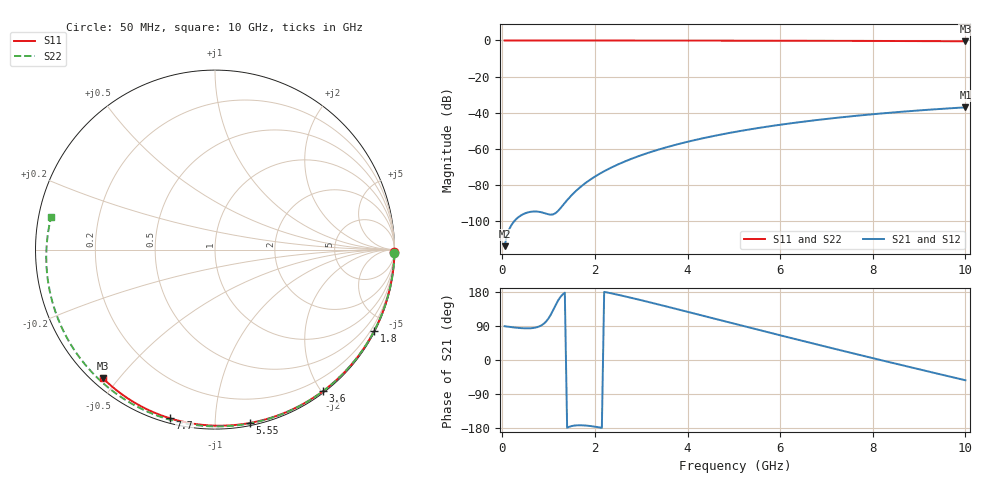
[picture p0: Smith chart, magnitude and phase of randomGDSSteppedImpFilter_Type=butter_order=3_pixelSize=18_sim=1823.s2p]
! freq	dB(S11)	phase(S11)	dB(S12)	phase(S12)
!  dB(S21)	phase(S21)	dB(S22)	phase(S22)
!S-par simulation data
#  GHz  S  DB  R 50
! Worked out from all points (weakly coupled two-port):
!   200 points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, 50 MHz to 10 GHz, reference 50 ohm
!   highest |S21| = -37.02 dB at 10 GHz (marker M1); lowest = -113.8 dB at 50 MHz (marker M2)
!   lowest |S11| = -0.4 dB at 10 GHz (marker M3), VSWR 39.07, Z = 1.54 - j22.6 ohm
!   |S11| at or under -10 dB: nowhere
!   |S22| runs from -0.6 to 0.0 dB; largest |S21 - S12| = 0
!   S11 on the Smith chart (normalised r, x): 50 MHz: open; 1.8 GHz: 0.04, -4.18; 3.6 GHz: 0.02, -2.02; 5.55 GHz: 0.02, -1.22; 7.7 GHz: 0.02, -0.77; 10 GHz: 0.03, -0.45
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0.05  -0.00 -0.8  -113.83 89.1  -113.83 89.1  -0.00 -1.1
0.45  -0.01 -6.8  -96.13 83.8  -96.13 83.8  -0.01 -9.6
0.85  -0.02 -12.8  -95.12 91.8  -95.12 91.8  -0.02 -18.0
1.3  -0.02 -19.6  -91.45 172.5  -91.45 172.5  -0.03 -27.3
1.75  -0.03 -26.2  -79.80 -172.5  -79.80 -172.5  -0.05 -36.5
1.8  -0.03 -26.9  -78.82 -172.9  -78.82 -172.9  -0.05 -37.6
2.1  -0.04 -31.3  -73.79 -178.0  -73.79 -178.0  -0.06 -43.6
2.5  -0.05 -37.1  -68.57 172.1  -68.57 172.1  -0.07 -51.6
2.9  -0.06 -42.8  -64.41 160.7  -64.41 160.7  -0.08 -59.5
3.4  -0.07 -49.9  -60.18 145.7  -60.18 145.7  -0.09 -69.2
3.6  -0.07 -52.7  -58.71 139.6  -58.71 139.6  -0.10 -73.0
4.3  -0.09 -62.2  -54.29 117.9  -54.29 117.9  -0.12 -86.1
5.05  -0.11 -72.2  -50.49 94.6  -50.49 94.6  -0.15 -99.8
5.55  -0.13 -78.6  -48.35 79.1  -48.35 79.1  -0.18 -108.7
6.1  -0.15 -85.6  -46.28 62.1  -46.28 62.1  -0.21 -118.5
6.7  -0.18 -93.0  -44.31 43.9  -44.31 43.9  -0.25 -129.0
7.7  -0.24 -104.9  -41.54 13.8  -41.54 13.8  -0.34 -146.8
8.35  -0.29 -112.5  -40.03 -5.5  -40.03 -5.5  -0.41 -158.6
8.8  -0.32 -117.7  -39.10 -18.7  -39.10 -18.7  -0.46 -167.0
9.2  -0.36 -122.2  -38.34 -30.3  -38.34 -30.3  -0.51 -174.8
9.6  -0.40 -126.7  -37.65 -41.9  -37.65 -41.9  -0.56 177.2
10  -0.44 -131.2  -37.02 -53.4  -37.02 -53.4  -0.62 168.9
